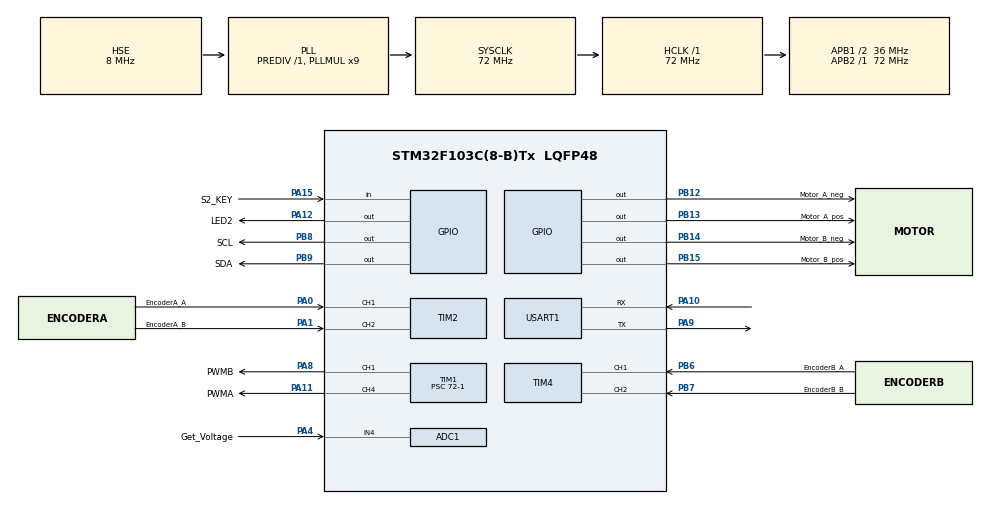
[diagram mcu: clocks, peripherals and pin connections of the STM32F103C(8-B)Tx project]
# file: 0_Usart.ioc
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ADC1.Channel-0\#ChannelRegularConversion=ADC_CHANNEL_4
ADC1.ContinuousConvMode=ENABLE
ADC1.NbrOfConversionFlag=1
ADC1.Rank-0\#ChannelRegularConversion=1
ADC1.SamplingTime-0\#ChannelRegularConversion=ADC_SAMPLETIME_55CYCLES_5
ADC1.master=1
FREERTOS.BinarySemaphores01=myBinarySem01,Dynamic,NULL
FREERTOS.INCLUDE_vTaskDelayUntil=1
FREERTOS.Tasks01=Task_50ms,0,128,Task50ms,Default,NULL,Dynamic,NULL,NULL;Task_5ms,0,128,Task5ms,Default,NULL,Dynamic,NULL,NULL
Mcu.Family=STM32F1
Mcu.Name=STM32F103C(8-B)Tx
Mcu.Package=LQFP48
NVIC.PriorityGroup=NVIC_PRIORITYGROUP_4
NVIC.TIM2_IRQn=true\:5\:0\:false\:false\:true\:true\:true\:true
NVIC.TIM3_IRQn=true\:0\:0\:false\:false\:true\:false\:false\:true
NVIC.TIM4_IRQn=true\:5\:0\:false\:false\:true\:true\:true\:true
NVIC.TimeBase=TIM3_IRQn
NVIC.TimeBaseIP=TIM3
NVIC.USART1_IRQn=true\:5\:0\:false\:false\:true\:true\:true\:true
PA0-WKUP.GPIO_Label=EncoderA_A
PA0-WKUP.Signal=S_TIM2_CH1_ETR
PA1.GPIO_Label=EncoderA_B
PA1.Signal=S_TIM2_CH2
PA10.Mode=Asynchronous
PA10.Signal=USART1_RX
PA11.GPIO_Label=PWMA
PA11.Signal=S_TIM1_CH4
PA12.GPIO_Label=LED2
PA12.GPIO_PuPd=GPIO_PULLDOWN
PA12.Signal=GPIO_Output
PA13.Mode=Serial_Wire
PA13.Signal=SYS_JTMS-SWDIO
PA14.Mode=Serial_Wire
PA14.Signal=SYS_JTCK-SWCLK
PA15.GPIO_Label=S2_KEY
PA15.GPIO_PuPd=GPIO_PULLUP
PA15.Signal=GPIO_Input
PA4.GPIO_Label=Get_Voltage
PA4.Signal=ADCx_IN4
PA8.GPIO_Label=PWMB
PA8.Signal=S_TIM1_CH1
PA9.Mode=Asynchronous
PA9.Signal=USART1_TX
PB12.GPIO_Label=Motor_A_neg
PB12.GPIO_PuPd=GPIO_PULLUP
PB12.Signal=GPIO_Output
PB13.GPIO_Label=Motor_A_pos
PB13.Signal=GPIO_Output
PB14.GPIO_Label=Motor_B_neg
PB14.Signal=GPIO_Output
PB15.GPIO_Label=Motor_B_pos
PB15.Signal=GPIO_Output
PB6.GPIO_Label=EncoderB_A
PB6.Signal=S_TIM4_CH1
PB7.GPIO_Label=EncoderB_B
PB7.Signal=S_TIM4_CH2
PB8.GPIO_Label=SCL
PB8.GPIO_PuPd=GPIO_PULLUP
PB8.GPIO_Speed=GPIO_SPEED_FREQ_HIGH
PB8.Signal=GPIO_Output
PB9.GPIO_Label=SDA
PB9.GPIO_PuPd=GPIO_PULLUP
PB9.GPIO_Speed=GPIO_SPEED_FREQ_HIGH
PB9.Signal=GPIO_Output
PD0-OSC_IN.Mode=HSE-External-Oscillator
PD0-OSC_IN.Signal=RCC_OSC_IN
PD1-OSC_OUT.Mode=HSE-External-Oscillator
PD1-OSC_OUT.Signal=RCC_OSC_OUT
ProjectManager.HeapSize=0x200
ProjectManager.StackSize=0x400
ProjectManager.TargetToolchain=SW4STM32
RCC.ADCPresc=RCC_ADCPCLK2_DIV6
RCC.AHBFreq_Value=72000000
RCC.APB1CLKDivider=RCC_HCLK_DIV2
RCC.APB1Freq_Value=36000000
RCC.APB1TimFreq_Value=72000000
RCC.APB2Freq_Value=72000000
RCC.APB2TimFreq_Value=72000000
RCC.HCLKFreq_Value=72000000
RCC.PLLMUL=RCC_PLL_MUL9
RCC.PLLSourceVirtual=RCC_PLLSOURCE_HSE
RCC.SYSCLKFreq_VALUE=72000000
RCC.SYSCLKSource=RCC_SYSCLKSOURCE_PLLCLK
RCC.USBFreq_Value=72000000
SH.ADCx_IN4.0=ADC1_IN4,IN4
SH.S_TIM1_CH1.0=TIM1_CH1,PWM Generation1 CH1
SH.S_TIM1_CH4.0=TIM1_CH4,PWM Generation4 CH4
SH.S_TIM2_CH1_ETR.0=TIM2_CH1,Encoder_Interface
SH.S_TIM2_CH2.0=TIM2_CH2,Encoder_Interface
SH.S_TIM4_CH1.0=TIM4_CH1,Encoder_Interface
SH.S_TIM4_CH2.0=TIM4_CH2,Encoder_Interface
TIM1.Channel-PWM\ Generation1\ CH1=TIM_CHANNEL_1
TIM1.Channel-PWM\ Generation4\ CH4=TIM_CHANNEL_4
TIM1.OCPolarity_1=TIM_OCPOLARITY_LOW
TIM1.OCPolarity_4=TIM_OCPOLARITY_LOW
TIM1.Period=100-1
TIM1.Prescaler=72-1
TIM1.Pulse-PWM\ Generation1\ CH1=50
TIM1.Pulse-PWM\ Generation4\ CH4=32768
TIM2.EncoderMode=TIM_ENCODERMODE_TI12
TIM4.EncoderMode=TIM_ENCODERMODE_TI12
USART1.VirtualMode=VM_ASYNC
VP_FREERTOS_VS_CMSIS_V1.Mode=CMSIS_V1
VP_SYS_VS_tim3.Mode=TIM3
board=custom

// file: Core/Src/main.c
/* USER CODE BEGIN Header */
/**
  ******************************************************************************
  * @file           : main.c
  * @brief          : Main program body
  ******************************************************************************
  * @attention
  *
  * <h2><center>&copy; Copyright (c) 2020 STMicroelectronics.
  * All rights reserved.</center></h2>
  *
  * This software component is licensed by ST under BSD 3-Clause license,
  * the "License"; You may not use this file except in compliance with the
  * License. You may obtain a copy of the License at:
  *                        opensource.org/licenses/BSD-3-Clause
  *
  ******************************************************************************
  */
/* USER CODE END Header */
#include "main.h"
#include "cmsis_os.h"
#include "adc.h"
#include "tim.h"
#include "usart.h"
#include "gpio.h"

/* USER CODE BEGIN PD */
#define REC_LENGTH 1
#define MAX_REC_LENGTH 2048

extern uint8_t RxBuffer[MAX_REC_LENGTH];
extern uint8_t RxFlag;
extern uint16_t RxCounter;
extern uint8_t RxTemp[REC_LENGTH];

/* USER CODE END PD */

/* USER CODE BEGIN PV */
float f_v;

/* USER CODE END PV */

void SystemClock_Config(void);
void MX_FREERTOS_Init(void);
/* USER CODE BEGIN PFP */
void PrintFloat(float value)
{
    int tmp,tmp1,tmp2,tmp3,tmp4,tmp5,tmp6;
    tmp = (int)value;
    tmp1=(int)((value-tmp)*10)%10;
    tmp2=(int)((value-tmp)*100)%10;
    tmp3=(int)((value-tmp)*1000)%10;
    tmp4=(int)((value-tmp)*10000)%10;
    tmp5=(int)((value-tmp)*100000)%10;
    tmp6=(int)((value-tmp)*1000000)%10;
    printf("f-value=%d.%d%d%d%d%d%d\r\n",tmp,tmp1,tmp2,tmp3,tmp4,tmp5,tmp6);
}
float filter(float cur_v)
{
    f_v = 0.9*f_v +(1-0.9)*cur_v;
    return f_v;
}
/* USER CODE END PFP */

int main(void)
{
  /* USER CODE BEGIN 1 */
//    HAL_UART_Receive_IT(&huart1, (uint8_t *)msg, 1); //开启第一次中断
  /* USER CODE END 1 */

  /* MCU Configuration--------------------------------------------------------*/

  /* Reset of all peripherals, Initializes the Flash interface and the Systick. */
  HAL_Init();

  /* Configure the system clock */
  SystemClock_Config();

  /* Initialize all configured peripherals */
  MX_GPIO_Init();
  MX_USART1_UART_Init();
  MX_ADC1_Init();
  MX_TIM1_Init();
  MX_TIM2_Init();
  MX_TIM4_Init();
  /* USER CODE BEGIN 2 */
    RetargetInit(&huart1);
    HAL_ADC_Start(&hadc1);  // 开启ADC
    delay_init();
    MPU6050_initialize();
    DMP_Init();
//    HAL_TIM_PWM_Init(&htim1);
    HAL_TIM_PWM_Start(&htim1,TIM_CHANNEL_1);
    HAL_TIM_PWM_Start(&htim1,TIM_CHANNEL_4);

    __HAL_TIM_CLEAR_FLAG(&htim2, TIM_FLAG_UPDATE);//清标志
    __HAL_TIM_CLEAR_IT(&htim2,TIM_IT_UPDATE);
    __HAL_TIM_CLEAR_FLAG(&htim4, TIM_FLAG_UPDATE);//清标志
    __HAL_TIM_CLEAR_IT(&htim4,TIM_IT_UPDATE);
    HAL_TIM_Encoder_Start(&htim2, TIM_CHANNEL_ALL);
    HAL_TIM_Encoder_Start(&htim4, TIM_CHANNEL_ALL);
    __HAL_TIM_SET_COUNTER(&htim2,0);
    __HAL_TIM_SET_COUNTER(&htim4,0);

  /* USER CODE END 2 */

  /* Call init function for freertos objects (in freertos.c) */
  MX_FREERTOS_Init();
  /* Start scheduler */
  osKernelStart();

  /* We should never get here as control is now taken by the scheduler */
  /* Infinite loop */
  while (1)
  {

  }
}

void SystemClock_Config(void)
{
  RCC_OscInitTypeDef RCC_OscInitStruct = {0};
  RCC_ClkInitTypeDef RCC_ClkInitStruct = {0};
  RCC_PeriphCLKInitTypeDef PeriphClkInit = {0};

  /** Initializes the RCC Oscillators according to the specified parameters
  * in the RCC_OscInitTypeDef structure.
  */
  RCC_OscInitStruct.OscillatorType = RCC_OSCILLATORTYPE_HSE;
  RCC_OscInitStruct.HSEState = RCC_HSE_ON;
  RCC_OscInitStruct.HSEPredivValue = RCC_HSE_PREDIV_DIV1;
  RCC_OscInitStruct.HSIState = RCC_HSI_ON;
  RCC_OscInitStruct.PLL.PLLState = RCC_PLL_ON;
  RCC_OscInitStruct.PLL.PLLSource = RCC_PLLSOURCE_HSE;
  RCC_OscInitStruct.PLL.PLLMUL = RCC_PLL_MUL9;
  if (HAL_RCC_OscConfig(&RCC_OscInitStruct) != HAL_OK)
  {
    Error_Handler();
  }
  /** Initializes the CPU, AHB and APB buses clocks
  */
  RCC_ClkInitStruct.ClockType = RCC_CLOCKTYPE_HCLK|RCC_CLOCKTYPE_SYSCLK
                              |RCC_CLOCKTYPE_PCLK1|RCC_CLOCKTYPE_PCLK2;
  RCC_ClkInitStruct.SYSCLKSource = RCC_SYSCLKSOURCE_PLLCLK;
  RCC_ClkInitStruct.AHBCLKDivider = RCC_SYSCLK_DIV1;
  RCC_ClkInitStruct.APB1CLKDivider = RCC_HCLK_DIV2;
  RCC_ClkInitStruct.APB2CLKDivider = RCC_HCLK_DIV1;

  if (HAL_RCC_ClockConfig(&RCC_ClkInitStruct, FLASH_LATENCY_2) != HAL_OK)
  {
    Error_Handler();
  }
  PeriphClkInit.PeriphClockSelection = RCC_PERIPHCLK_ADC;
  PeriphClkInit.AdcClockSelection = RCC_ADCPCLK2_DIV6;
  if (HAL_RCCEx_PeriphCLKConfig(&PeriphClkInit) != HAL_OK)
  {
    Error_Handler();
  }
}

 /**
  * @brief  Period elapsed callback in non blocking mode
  * @note   This function is called  when TIM3 interrupt took place, inside
  * HAL_TIM_IRQHandler(). It makes a direct call to HAL_IncTick() to increment
  * a global variable "uwTick" used as application time base.
  * @param  htim : TIM handle
  * @retval None
  */
void HAL_TIM_PeriodElapsedCallback(TIM_HandleTypeDef *htim)
{
  if (htim->Instance == TIM3) {
    HAL_IncTick();
  }
}

void Error_Handler(void)
{
  /* USER CODE BEGIN Error_Handler_Debug */
  /* User can add his own implementation to report the HAL error return state */
  __disable_irq();
  while (1)
  {
      printf("Error_Handler");
  }
  /* USER CODE END Error_Handler_Debug */
}

#ifdef  USE_FULL_ASSERT
/**
  * @brief  Reports the name of the source file and the source line number
  *         where the assert_param error has occurred.
  * @param  file: pointer to the source file name
  * @param  line: assert_param error line source number
  * @retval None
  */
void assert_failed(uint8_t *file, uint32_t line)
{
  /* USER CODE BEGIN 6 */
  printf("Error_Handler");
  /* User can add his own implementation to report the file name and line number,*/
   printf("Wrong parameters value: file %s on line %d\r\n", file, line);
  /* USER CODE END 6 */
}
#endif /* USE_FULL_ASSERT */

/************************ (C) COPYRIGHT STMicroelectronics *****END OF FILE****/

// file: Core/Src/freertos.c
/* USER CODE BEGIN Header */
/**
  ******************************************************************************
  * File Name          : freertos.c
  * Description        : Code for freertos applications
  ******************************************************************************
  * @attention
  *
  * <h2><center>&copy; Copyright (c) 2020 STMicroelectronics.
  * All rights reserved.</center></h2>
  *
  * This software component is licensed by ST under Ultimate Liberty license
  * SLA0044, the "License"; You may not use this file except in compliance with
  * the License. You may obtain a copy of the License at:
  *                             www.st.com/SLA0044
  *
  ******************************************************************************
  */
/* USER CODE END Header */

#include "FreeRTOS.h"
#include "task.h"
#include "main.h"
#include "cmsis_os.h"

/* USER CODE BEGIN Includes */
#include "gpio.h"
/* USER CODE END Includes */

/* USER CODE BEGIN PTD */
TIM_HandleTypeDef htim1;
TIM_HandleTypeDef htim2;
TIM_HandleTypeDef htim4;
UART_HandleTypeDef huart1;
/* USER CODE END PTD */

/* USER CODE BEGIN PD */
#define MAX_RECV_LEN 1024
uint8_t msg_buff[1024];
uint8_t * msg = msg_buff;
static int flag = (int)0;

/* USER CODE END PD */

/* USER CODE BEGIN PM */
float Get_Angle(void);
int balance(float Angle,float Gyro);
int velocity(int encoder_left,int encoder_right);
int Read_Encoder(uint8_t TIMX);
int myabs(int a);
void Set_Pwm(int moto1,int moto2);
/* USER CODE END PM */

/* USER CODE BEGIN Variables */
float Accel_Y,Angle_Balance,Gyro_Balance,Gyro_Turn,Acceleration_Z,buff_ax,buff_ay,buff_az;
//Balance_Kp = (float)300;
//Balance_Kd = (float)1;
float Velocity_Kp=80,Velocity_Ki=0.4,angleX,Gyro_X,Gyo_Raw,Gyo_Rate_Raw,VehSpd_Left,VehSpd_Right;
int Moto1,Moto2;
int Balance_Pwm,Velocity_Pwm,Turn_Pwm;
uint32_t enc1,enc2;
uint8_t aRxBuffer[1];
//int Encoder_Left,Encoder_Right;
/* USER CODE END Variables */
osThreadId Task_50msHandle;
osThreadId Task_5msHandle;
osSemaphoreId myBinarySem01Handle;

void Task50ms(void const * argument);
void Task5ms(void const * argument);

void MX_FREERTOS_Init(void); /* (MISRA C 2004 rule 8.1) */

/* GetIdleTaskMemory prototype (linked to static allocation support) */
void vApplicationGetIdleTaskMemory( StaticTask_t **ppxIdleTaskTCBBuffer, StackType_t **ppxIdleTaskStackBuffer, uint32_t *pulIdleTaskStackSize );

/* USER CODE BEGIN GET_IDLE_TASK_MEMORY */
static StaticTask_t xIdleTaskTCBBuffer;
static StackType_t xIdleStack[configMINIMAL_STACK_SIZE];

void vApplicationGetIdleTaskMemory( StaticTask_t **ppxIdleTaskTCBBuffer, StackType_t **ppxIdleTaskStackBuffer, uint32_t *pulIdleTaskStackSize )
{
  *ppxIdleTaskTCBBuffer = &xIdleTaskTCBBuffer;
  *ppxIdleTaskStackBuffer = &xIdleStack[0];
  *pulIdleTaskStackSize = configMINIMAL_STACK_SIZE;
  /* place for user code */
}
/* USER CODE END GET_IDLE_TASK_MEMORY */

void MX_FREERTOS_Init(void) {

  /* Create the semaphores(s) */
  /* definition and creation of myBinarySem01 */
  osSemaphoreDef(myBinarySem01);
  myBinarySem01Handle = osSemaphoreCreate(osSemaphore(myBinarySem01), 1);

  /* Create the thread(s) */
  /* definition and creation of Task_50ms */
  osThreadDef(Task_50ms, Task50ms, osPriorityNormal, 0, 128);
  Task_50msHandle = osThreadCreate(osThread(Task_50ms), NULL);

  /* definition and creation of Task_5ms */
  osThreadDef(Task_5ms, Task5ms, osPriorityNormal, 0, 128);
  Task_5msHandle = osThreadCreate(osThread(Task_5ms), NULL);

}

void Task50ms(void const * argument)
{
  /* USER CODE BEGIN Task50ms */
  /* Infinite loop */
  for(;;)
  {
    osDelay(200);
////      HAL_UART_Receive_IT(&huart1, (uint8_t *)msg, 1); //开启第一次中断
//    HAL_GPIO_TogglePin(LED2_GPIO_Port,LED2_Pin);
//    printf("angleX:");
//        disp(Angle_Balance);
//    printf("  BalancePWM：");
//    disp(Balance_Pwm);
//      printf("  VelPWM：");
//      disp(Velocity_Pwm);
//    printf(" Moto1:");
//    disp(Moto1);
//    printf(" Encoder:");
//    disp(Encoder_Right);
//        printf("\n");
  }
  /* USER CODE END Task50ms */
}

void Task5ms(void const * argument)
{
  /* USER CODE BEGIN Task5ms */
    uint32_t enc1_buff,enc2_buff;
  /* Infinite loop */
  for(;;)
  {
    osDelay(5);
      Get_Angle();
//
//
      Balance_Pwm =balance(angle,Gyro_Balance);
//
      VehSpd_Left = -Read_Encoder(2);
      VehSpd_Right = Read_Encoder(4);
      Velocity_Pwm=velocity(VehSpd_Left,VehSpd_Right);
      Moto1=Balance_Pwm+Velocity_Pwm;//Target_Voltage;//*(-0.65);
      Moto2=Balance_Pwm+Velocity_Pwm;//Target_Voltage;//*(-0.65);

      Set_Pwm(Moto1,Moto1);
      enc1 = (uint32_t)(__HAL_TIM_GET_COUNTER(&htim2));//获取定时器的值
      enc2 = (uint32_t)(__HAL_TIM_GET_COUNTER(&htim4));//获取定时器的值
  }
  /* USER CODE END Task5ms */
}

/* USER CODE BEGIN Application */
float Get_Angle(void) {
    float Accel_Y, Accel_X, Accel_Z, Gyro_Y, Gyro_Z,Accel_Y_Raw, Accel_X_Raw, Accel_Z_Raw,angleY,Gyro_X_Raw;
    Gyro_X_Raw = (I2C_ReadOneByte(devAddr, MPU6050_RA_GYRO_XOUT_H) << 8) +
                 I2C_ReadOneByte(devAddr, MPU6050_RA_GYRO_XOUT_L);    //读取X轴陀螺仪
    Gyro_Y = (I2C_ReadOneByte(devAddr, MPU6050_RA_GYRO_YOUT_H) << 8) +
             I2C_ReadOneByte(devAddr, MPU6050_RA_GYRO_YOUT_L);    //读取Y轴陀螺仪
    Gyro_Z = (I2C_ReadOneByte(devAddr, MPU6050_RA_GYRO_ZOUT_H) << 8) +
             I2C_ReadOneByte(devAddr, MPU6050_RA_GYRO_ZOUT_L);    //读取Z轴陀螺仪
    Accel_X_Raw = (I2C_ReadOneByte(devAddr, MPU6050_RA_ACCEL_XOUT_H) << 8) +
                  I2C_ReadOneByte(devAddr, MPU6050_RA_ACCEL_XOUT_L); //读取X轴加速度计
    Accel_Y_Raw = (I2C_ReadOneByte(devAddr, MPU6050_RA_ACCEL_YOUT_H) << 8) +
                  I2C_ReadOneByte(devAddr, MPU6050_RA_ACCEL_YOUT_L); //读取X轴加速度计
    Accel_Z_Raw = (I2C_ReadOneByte(devAddr, MPU6050_RA_ACCEL_ZOUT_H) << 8) +
                  I2C_ReadOneByte(devAddr, MPU6050_RA_ACCEL_ZOUT_L); //读取Z轴加速度计
    if (Gyro_X_Raw > 32768) Gyro_X_Raw -= 65536;                       //数据类型转换  也可通过short强制类型转换
    if (Gyro_Y > 32768) Gyro_Y -= 65536;                       //数据类型转换  也可通过short强制类型转换
    if (Gyro_Z > 32768) Gyro_Z -= 65536;                       //数据类型转换
    if (Accel_X_Raw > 32768) Accel_X_Raw -= 65536;                      //数据类型转换
    if (Accel_Y_Raw > 32768) Accel_Y_Raw -= 65536;                      //数据类型转换
    if (Accel_Z_Raw > 32768) Accel_Z_Raw -= 65536;                      //数据类型转换

//    Gyro_Balance = -Gyro_Y;                                  //更新平衡角速度
//    Accel_Y = atan2(Accel_X, Accel_Z) * 180 / PI;                 //计算倾角
//    Gyro_Y = Gyro_Y / 16.4;                                    //陀螺仪量程转换
//    Kalman_Filter(Accel_Y,-Gyro_Y);//卡尔曼滤波
    Accel_X = Accel_X_Raw/16384.0;
    Accel_Y = Accel_Y_Raw/16384.0;
    Accel_Z = Accel_Z_Raw/16384.0;
    Gyro_X = Gyro_X_Raw/16.4;
    Gyro_X = Gyro_X + 0.56;

    angleX = (atan(Accel_Y / sqrt(pow(Accel_X, 2) + pow(Accel_Z, 2))) * 180 / PI);
    angleY = (atan(-1 * Accel_X / sqrt(pow(Accel_Y, 2) + pow(Accel_Z, 2))) * 180 / PI) + 1.58; // AccErrorY ~(-1.58)     //陀螺仪量程转换
    Kalman_Filter(angleX,Gyro_X);//卡尔曼滤波
    Angle_Balance=angle;                                   //更新平衡倾角
    Gyro_Balance = Gyro_X;
    Gyro_Turn=Gyro_Z;                                      //更新转向角速度
    Acceleration_Z=Accel_Z;                                //===更新Z轴加速度计
}

int balance(float Angle,float Gyro)
{
    float Bias;
    int balance;
    Bias=Angle-0;       //===求出平衡的角度中值 和机械相关
    balance=14*Bias+Gyro*0.3;   //===计算平衡控制的电机PWM  PD控制   kp是P系数 kd是D系数 10 0.3 8 0.026
    return balance;
}

void Set_Pwm(int moto1,int moto2)
{
    if(moto1<0)
    {
        HAL_GPIO_WritePin(Motor_A_neg_GPIO_Port,Motor_A_neg_Pin,GPIO_PIN_RESET);
        HAL_GPIO_WritePin(Motor_A_pos_GPIO_Port,Motor_A_pos_Pin,GPIO_PIN_SET);
    }
    else
    {
        HAL_GPIO_WritePin(Motor_A_neg_GPIO_Port,Motor_A_neg_Pin,GPIO_PIN_SET);
        HAL_GPIO_WritePin(Motor_A_pos_GPIO_Port,Motor_A_pos_Pin,GPIO_PIN_RESET);
    }
            __HAL_TIM_SetCompare(&htim1, TIM_CHANNEL_4, myabs(moto1));
    if(moto2<0)
    {
        HAL_GPIO_WritePin(Motor_B_neg_GPIO_Port,Motor_B_neg_Pin,GPIO_PIN_SET);
        HAL_GPIO_WritePin(Motor_B_pos_GPIO_Port,Motor_B_pos_Pin,GPIO_PIN_RESET);
    }
    else
    {
        HAL_GPIO_WritePin(Motor_B_neg_GPIO_Port,Motor_B_neg_Pin,GPIO_PIN_RESET);
        HAL_GPIO_WritePin(Motor_B_pos_GPIO_Port,Motor_B_pos_Pin,GPIO_PIN_SET);
    }
            __HAL_TIM_SetCompare(&htim1, TIM_CHANNEL_1, myabs(moto2));
//    PWMA_Pin=myabs(moto1);

//    if(moto2<0)	{Motor_B_neg_Pin=0,			Motor_B_pos_Pin=1;}
//    else        {Motor_B_neg_Pin=1,			Motor_B_pos_Pin=0;}
//    PWMB_Pin=myabs(moto2);
}

int myabs(int a)
{
    int temp;
    if(a<0)  temp=(int)100 + a;
    else temp=(int)100 - a;
    return temp;
}
void HAL_UART_RxCpltCallback(UART_HandleTypeDef *UartHandle)
{
    uint8_t ret = HAL_OK;
    msg++;
    if( msg == msg_buff + MAX_RECV_LEN)
    {
        msg = msg_buff;
    }
    do
    {
        ret = HAL_UART_Receive_IT(UartHandle,(uint8_t *)msg,1);
    }while(ret != HAL_OK);

    if(*(msg-1) == '\n')   //接收以\n为结尾字符，则表示接收完成
    {
        flag  =(int)1;
    }
}

int velocity(int encoder_left,int encoder_right)
{
    static float Velocity,Encoder_Least,Encoder,Movement;
    static float Encoder_Integral,Target_Velocity;
    //=============速度PI控制器=======================//
    Encoder_Least =(encoder_left+encoder_right)-0;                    //===获取最新速度偏差==测量速度（左右编码器之和）-目标速度（此处为零）
    Encoder *= 0.8;		                                                //===一阶低通滤波器
    Encoder += Encoder_Least*0.2;	                                    //===一阶低通滤波器
    Encoder_Integral +=Encoder;                                       //===积分出位移 积分时间：10ms
//    Encoder_Integral=Encoder_Integral-Movement;                       //===接收遥控器数据，控制前进后退
    if(Encoder_Integral>10000)  	Encoder_Integral=10000;             //===积分限幅
    if(Encoder_Integral<-10000)	Encoder_Integral=-10000;              //===积分限幅
    Velocity=Encoder*1.2+Encoder_Integral*(1.2/200);                          //===速度控制 0.5 0.025
//    if(Turn_Off(Angle_Balance,Voltage)==1||Flag_Stop==1)   Encoder_Integral=0;      //===电机关闭后清除积分
    if(angle<-40||angle>40)   Encoder_Integral=0;
    return Velocity;
}
int Read_Encoder(uint8_t TIMX)
{
    int Encoder_TIM;
    switch(TIMX)
    {
        case 2:  Encoder_TIM= (short)__HAL_TIM_GET_COUNTER(&htim2);  __HAL_TIM_SET_COUNTER(&htim2,0);break;//TIM2 -> CNT=0;break;
//        case 3:  Encoder_TIM= (short)TIM3 -> CNT;  TIM3 -> CNT=0;break;
        case 4:  Encoder_TIM= (short)__HAL_TIM_GET_COUNTER(&htim4);   __HAL_TIM_SET_COUNTER(&htim4,0);break;;
        default:  Encoder_TIM=0;
    }
    return Encoder_TIM;
}

/* USER CODE END Application */

/************************ (C) COPYRIGHT STMicroelectronics *****END OF FILE****/
